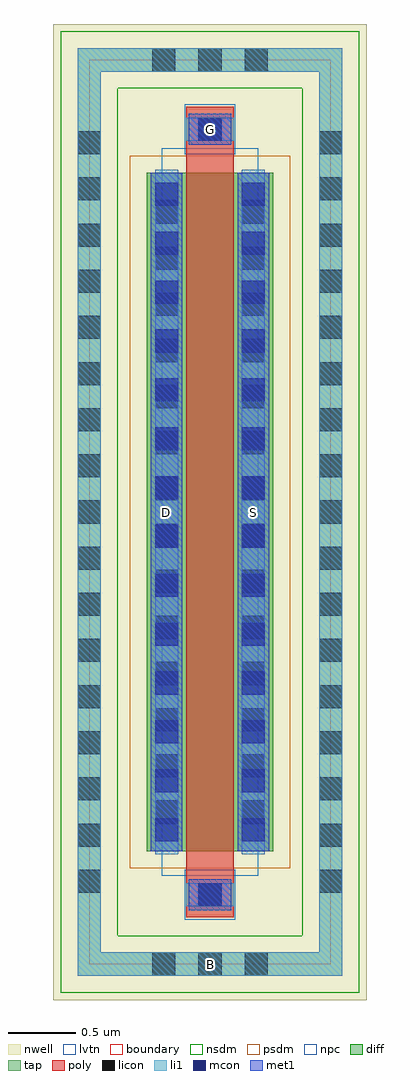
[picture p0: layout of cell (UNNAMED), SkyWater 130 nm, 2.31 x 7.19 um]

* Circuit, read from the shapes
.subckt (UNNAMED) B D G S
XM1 S G D B sky130_fd_pr__pfet_01v8_lvt w=5 l=0.35
.ends

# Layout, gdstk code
import gdstk
lib = gdstk.Library(unit=1e-6, precision=1e-09)
def R(c, l, rs):  # rectangles x0, y0, x1, y1
    for r in rs: c.add(gdstk.rectangle(r[:2], r[2:], *l))
def A(c, l, x, y, w, h, nx, ny, dx, dy):  # array of equal rectangles
    R(c, l, [(x+i*dx, y+j*dy, x+i*dx+w, y+j*dy+h) for i in range(nx) for j in range(ny)])
nwell = (64, 20)
diff = (65, 20)
tap = (65, 44)
poly = (66, 20)
licon = (66, 44)
li1 = (67, 20)
mcon = (67, 44)
met1 = (68, 20)
nsdm = (93, 44)
psdm = (94, 20)
npc = (95, 20)
lvtn = (125, 44)
boundary = (235, 4)

c__unnamed_ = lib.new_cell('(UNNAMED)')
R(c__unnamed_, nwell, [(-1.155,-3.595,1.155,3.595)])
R(c__unnamed_, diff, [(-0.465,-2.5,0.465,2.5)])
R(c__unnamed_, tap, [(-0.975,-3.415,0.975,-3.245), (-0.975,-3.245,-0.805,3.245), (0.805,-3.245,0.975,3.245), (-0.975,3.245,0.975,3.415)])
R(c__unnamed_, poly, [(-0.175,-2.985,0.175,2.985)])
A(c__unnamed_, licon, -0.425, -3.415, 0.17, 0.17, 3, 2, 0.34, 6.66)
A(c__unnamed_, licon, -0.975, -2.805, 0.17, 0.17, 1, 17, 0, 0.34)
A(c__unnamed_, licon, 0.805, -2.805, 0.17, 0.17, 1, 17, 0, 0.34)
A(c__unnamed_, licon, -0.405, -2.295, 0.17, 0.17, 1, 14, 0, 0.34)
A(c__unnamed_, licon, 0.235, -2.295, 0.17, 0.17, 1, 14, 0, 0.34)
R(c__unnamed_, licon, [(-0.085,-2.905,0.085,-2.735), (-0.085,2.735,0.085,2.905)])
R(c__unnamed_, li1, [(-0.975,-3.415,0.975,-3.245), (-0.975,-3.245,-0.805,3.245), (0.805,-3.245,0.975,3.245), (-0.175,-2.905,0.175,-2.735), (-0.405,-2.52,-0.235,2.52), (0.235,-2.52,0.405,2.52), (-0.175,2.735,0.175,2.905), (-0.975,3.245,0.975,3.415)])
A(c__unnamed_, mcon, -0.405, -2.425, 0.17, 0.17, 1, 14, 0, 0.36)
A(c__unnamed_, mcon, 0.235, -2.425, 0.17, 0.17, 1, 14, 0, 0.36)
R(c__unnamed_, mcon, [(-0.085,-2.905,0.085,-2.735), (-0.085,2.735,0.085,2.905)])
R(c__unnamed_, met1, [(-0.155,-2.935,0.155,-2.705), (-0.435,-2.5,-0.205,2.5), (0.205,-2.5,0.435,2.5), (-0.155,2.705,0.155,2.935)])
R(c__unnamed_, nsdm, [(-1.1,-3.54,1.1,-3.12), (-1.1,-3.12,-0.68,3.12), (0.68,-3.12,1.1,3.12), (-1.1,3.12,1.1,3.54)])
R(c__unnamed_, psdm, [(-0.59,-2.625,0.59,2.625)])
R(c__unnamed_, npc, [(-0.185,-3.005,0.185,-2.635), (-0.185,2.635,0.185,3.005)])
R(c__unnamed_, lvtn, [(-0.355,-2.68,0.355,2.68)])
R(c__unnamed_, boundary, [(-0.89,-3.33,0.89,3.33)])
c__unnamed_.add(gdstk.Label('B', (0,-3.33), layer=67, texttype=5))
c__unnamed_.add(gdstk.Label('D', (-0.32,0), layer=67, texttype=5))
c__unnamed_.add(gdstk.Label('S', (0.32,0), layer=67, texttype=5))
c__unnamed_.add(gdstk.Label('G', (0,2.82), layer=67, texttype=5))

lib.write_gds('_UNNAMED_.gds')
